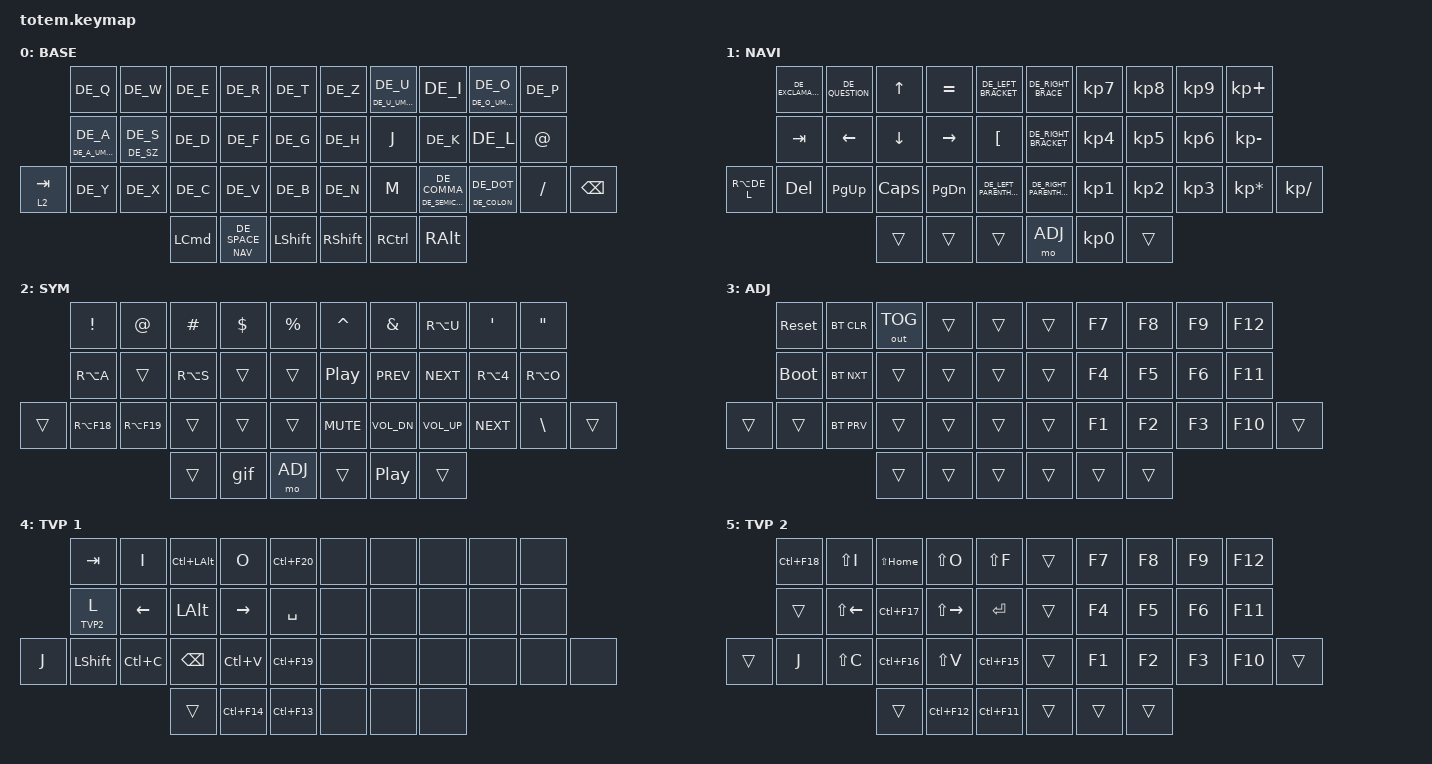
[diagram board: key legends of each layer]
//
//                                                        ▀▀▀▀▀     ▀▀▀▀▀          ▀▀█▀▀
//                                                        ▄▀▀▀▄  ▄  ▄▀▀▀▄  ▄  ▄▀▀▀▄  █  ▄▀▀▀▄
//                                                        █   █  █  █   █  █  █   █  █  █   █
//                                                         ▀▀▀   █   ▀▀▀   █   ▀▀▀   ▀   ▀▀▀
//                                                               █      ▄▄▄█▄▄▄    █   █  
//                                                               ▀      █  █  █     █▄█
//                                                             ▀▀▀▀▀    █  █  █      ▀
//                                                                      ▀  ▀  ▀
//
// ▄▄▄▄▄▄▄▄▄▄▄▄▄▄▄▄▄▄▄▄▄▄▄▄▄▄▄▄▄▄▄▄▄▄▄▄▄▄▄▄▄▄▄▄▄▄▄▄▄▄▄▄▄▄▄▄▄▄▄▄▄▄▄▄▄▄▄▄▄▄▄▄▄▄▄▄▄▄▄▄▄▄▄▄▄▄▄▄▄▄▄▄▄▄▄▄▄▄▄▄▄▄▄▄▄▄▄▄▄▄▄▄▄▄▄▄▄▄▄▄▄▄▄▄▄▄▄▄▄▄▄▄▄▄▄▄▄▄▄▄▄▄▄▄▄▄▄▄▄

#include <behaviors.dtsi>
#include <dt-bindings/zmk/bt.h>
#include <dt-bindings/zmk/keys.h>
#include <dt-bindings/zmk/outputs.h>
#include "keys_de.h"

#define BASE 0
#define NAV  1
#define SYM  2
#define ADJ  3
#define TVP1 4
#define TVP2 5

&mt {
    quick-tap-ms = <150>;
    global-quick-tap;
    flavor = "tap-preferred";
    tapping-term-ms = <250>;
};

/ {
    combos {
        compatible = "zmk,combos";

        Enter {
            bindings = <&kp ENTER>;
            key-positions = <16 17>;
        };

        Spotlight {
            bindings = <&kp LG(SPACE)>;
            key-positions = <11 12 13>;
        };

        escape {
            bindings = <&kp ESCAPE>;
            key-positions = <11 12>;
        };

        downloads {
            bindings = <&kp LA(LS(DE_D))>;
            key-positions = <12 24>;
        };

        screenshot {
            bindings = <&kp LS(LA(DE_S))>;
            key-positions = <22 12>;
        };

        shot {
            bindings = <&kp LS(LG(NUMBER_4))>;
            key-positions = <13 2>;
        };

        zwischenablage {
            bindings = <&kp LS(LG(DE_V))>;
            key-positions = <23 13>;
        };
    };

    macros {
        gif: gif {
            label = "giphy";
            compatible = "zmk,behavior-macro";
            #binding-cells = <0>;
            bindings =
                <&macro_press>,
                <&kp LSHFT>,
                <&macro_tap>,
                <&kp N2>,
                <&macro_release>,
                <&kp LSHFT>,
                <&macro_tap>,
                <&kp G &kp I &kp F>;
        };
    };

    keymap {
        compatible = "zmk,keymap";

        // ▄▄▄▄▄▄▄▄▄▄▄▄▄▄▄▄▄▄▄▄▄▄▄▄▄▄▄▄▄▄▄▄▄▄▄▄▄▄▄▄▄▄▄▄▄▄▄▄▄▄▄▄▄▄▄▄▄▄▄▄▄▄▄▄▄▄▄▄▄▄▄▄▄▄▄▄▄▄▄▄▄▄▄▄▄▄▄▄▄▄▄▄▄▄▄▄▄▄▄▄▄▄▄▄▄▄▄▄▄▄▄▄▄▄▄▄▄▄▄▄▄▄▄▄▄▄▄▄▄▄▄▄▄▄▄▄▄▄▄▄▄▄▄▄▄▄▄▄▄

        base_layer {
            // ┏━━━━━━━━━━━━━━━━━━━━━━━━━━━━━━━━━━━━━━━┓

            label = "BASE";

            // ┗━━━━━━━━━━━━━━━━━━━━━━━━━━━━━━━━━━━━━━━┛
            //             ┏━━━━━━━━━━━┳━━━━━━━━━━━┳━━━━━━━━━━━┳━━━━━━━━━━━┳━━━━━━━━━━━┓   ┏━━━━━━━━━━━┳━━━━━━━━━━━┳━━━━━━━━━━━┳━━━━━━━━━━━┳━━━━━━━━━━━┓
            //             ┃     Q     ┃     W     ┃     F     ┃     P     ┃     G     ┃   ┃     J     ┃     L     ┃     U     ┃     Y     ┃     ;     ┃
            //             ┣━━━━━━━━━━━╋━━━━━━━━━━━╋━━━━━━━━━━━╋━━━━━━━━━━━╋━━━━━━━━━━━┫   ┣━━━━━━━━━━━╋━━━━━━━━━━━╋━━━━━━━━━━━╋━━━━━━━━━━━╋━━━━━━━━━━━┫
            //             ┃     A     ┃     R     ┃     S     ┃     T     ┃     D     ┃   ┃     H     ┃     N     ┃     E     ┃     I     ┃     O     ┃
            // ┏━━━━━━━━━━━╋━━━━━━━━━━━╋━━━━━━━━━━━╋━━━━━━━━━━━╋━━━━━━━━━━━╋━━━━━━━━━━━┫   ┣━━━━━━━━━━━╋━━━━━━━━━━━╋━━━━━━━━━━━╋━━━━━━━━━━━╋━━━━━━━━━━━╋━━━━━━━━━━━┓
            // ┃     Q     ┃     Z     ┃     X     ┃     C     ┃     V     ┃     B     ┃   ┃     K     ┃     M     ┃     ,     ┃     .     ┃     /     ┃     \     ┃
            // ┗━━━━━━━━━━━┻━━━━━━━━━━━┻━━━━━━━━━━━╋━━━━━━━━━━━╋━━━━━━━━━━━╋━━━━━━━━━━━┫   ┣━━━━━━━━━━━╋━━━━━━━━━━━╋━━━━━━━━━━━╋━━━━━━━━━━━┻━━━━━━━━━━━┻━━━━━━━━━━━┛
            //                                     ┃    DEL    ┃    TAB    ┃    SPC    ┃   ┃   ENTER   ┃           ┃   BSPC    ┃
            //                                     ┗━━━━━━━━━━━┻━━━━━━━━━━━┻━━━━━━━━━━━┛   ┗━━━━━━━━━━━┻━━━━━━━━━━━┻━━━━━━━━━━━┛

            bindings = <
           &kp DE_Q              &kp DE_W        &kp DE_E          &kp DE_R          &kp DE_T          &kp DE_Z         &mt DE_U_UMLAUT DE_U  &kp DE_I                   &mt DE_O_UMLAUT DE_O  &kp DE_P
           &mt DE_A_UMLAUT DE_A  &mt DE_SZ DE_S  &kp DE_D          &kp DE_F          &kp DE_G          &kp DE_H         &kp J                 &kp DE_K                   &kp DE_L              &kp AT
&lt 2 TAB  &kp DE_Y              &kp DE_X        &kp DE_C          &kp DE_V          &kp DE_B          &kp DE_N         &kp M                 &mt DE_SEMICOLON DE_COMMA  &mt DE_COLON DE_DOT   &kp FSLH  &kp BACKSPACE
                                                 &kp LEFT_COMMAND  &lt NAV DE_SPACE  &kp LEFT_SHIFT    &kp RIGHT_SHIFT  &kp RIGHT_CONTROL     &kp RIGHT_ALT
            >;
        };

        // ▄▄▄▄▄▄▄▄▄▄▄▄▄▄▄▄▄▄▄▄▄▄▄▄▄▄▄▄▄▄▄▄▄▄▄▄▄▄▄▄▄▄▄▄▄▄▄▄▄▄▄▄▄▄▄▄▄▄▄▄▄▄▄▄▄▄▄▄▄▄▄▄▄▄▄▄▄▄▄▄▄▄▄▄▄▄▄▄▄▄▄▄▄▄▄▄▄▄▄▄▄▄▄▄▄▄▄▄▄▄▄▄▄▄▄▄▄▄▄▄▄▄▄▄▄▄▄▄▄▄▄▄▄▄▄▄▄▄▄▄▄▄▄▄▄▄▄▄▄

        nav_layer {
            // ┏━━━━━━━━━━━━━━━━━━━━━━━━━━━━━━━━━━━━━━━┓

            label = "NAVI";

            // ┗━━━━━━━━━━━━━━━━━━━━━━━━━━━━━━━━━━━━━━━┛
            //             ┏━━━━━━━━━━━┳━━━━━━━━━━━┳━━━━━━━━━━━┳━━━━━━━━━━━┳━━━━━━━━━━━┓   ┏━━━━━━━━━━━┳━━━━━━━━━━━┳━━━━━━━━━━━┳━━━━━━━━━━━┳━━━━━━━━━━━┓
            //             ┃           ┃           ┃     UP    ┃           ┃     {     ┃   ┃     }     ┃     7     ┃     8     ┃     9     ┃     +     ┃
            //             ┣━━━━━━━━━━━╋━━━━━━━━━━━╋━━━━━━━━━━━╋━━━━━━━━━━━╋━━━━━━━━━━━┫   ┣━━━━━━━━━━━╋━━━━━━━━━━━╋━━━━━━━━━━━╋━━━━━━━━━━━╋━━━━━━━━━━━┫
            //             ┃   SHIFT   ┃   LEFT    ┃    DOWN   ┃   RIGHT   ┃     [     ┃   ┃     ]     ┃     4     ┃     5     ┃     6     ┃     -     ┃
            // ┏━━━━━━━━━━━╋━━━━━━━━━━━╋━━━━━━━━━━━╋━━━━━━━━━━━╋━━━━━━━━━━━╋━━━━━━━━━━━┫   ┣━━━━━━━━━━━╋━━━━━━━━━━━╋━━━━━━━━━━━╋━━━━━━━━━━━╋━━━━━━━━━━━╋━━━━━━━━━━━┓
            // ┃           ┃           ┃   P UP    ┃  C LOCK   ┃  P DOWN   ┃     (     ┃   ┃     )     ┃     1     ┃     2     ┃     3     ┃     *     ┃           ┃
            // ┗━━━━━━━━━━━┻━━━━━━━━━━━┻━━━━━━━━━━━╋━━━━━━━━━━━╋━━━━━━━━━━━╋━━━━━━━━━━━┫   ┣━━━━━━━━━━━╋━━━━━━━━━━━╋━━━━━━━━━━━╋━━━━━━━━━━━┻━━━━━━━━━━━┻━━━━━━━━━━━┛
            //                                     ┃           ┃    TAB    ┃    SPC    ┃   ┃    DEL    ┃     0     ┃           ┃
            //                                     ┗━━━━━━━━━━━┻━━━━━━━━━━━┻━━━━━━━━━━━┛   ┗━━━━━━━━━━━┻━━━━━━━━━━━┻━━━━━━━━━━━┛

            bindings = <
              &kp DE_EXCLAMATION  &kp DE_QUESTION  &kp UP    &kp EQUAL  &kp DE_LEFT_BRACKET        &kp DE_RIGHT_BRACE        &kp KP_N7  &kp KP_N8  &kp KP_N9  &kp KP_PLUS
              &kp TAB             &kp LEFT         &kp DOWN  &kp RIGHT  &kp LBKT                   &kp DE_RIGHT_BRACKET      &kp KP_N4  &kp KP_N5  &kp KP_N6  &kp KP_MINUS
&kp RA(DE_L)  &kp DEL             &kp PG_UP        &kp CAPS  &kp PG_DN  &kp DE_LEFT_PARENTHESIS    &kp DE_RIGHT_PARENTHESIS  &kp KP_N1  &kp KP_N2  &kp KP_N3  &kp KP_MULTIPLY  &kp KP_DIVIDE
                                                   &trans    &trans     &trans                     &mo ADJ                   &kp KP_N0  &trans
            >;
        };

        // ▄▄▄▄▄▄▄▄▄▄▄▄▄▄▄▄▄▄▄▄▄▄▄▄▄▄▄▄▄▄▄▄▄▄▄▄▄▄▄▄▄▄▄▄▄▄▄▄▄▄▄▄▄▄▄▄▄▄▄▄▄▄▄▄▄▄▄▄▄▄▄▄▄▄▄▄▄▄▄▄▄▄▄▄▄▄▄▄▄▄▄▄▄▄▄▄▄▄▄▄▄▄▄▄▄▄▄▄▄▄▄▄▄▄▄▄▄▄▄▄▄▄▄▄▄▄▄▄▄▄▄▄▄▄▄▄▄▄▄▄▄▄▄▄▄▄▄▄▄

        sim_layer {
            // ┏━━━━━━━━━━━━━━━━━━━━━━━━━━━━━━━━━━━━━━━┓

            label = "SYM";

            // ┗━━━━━━━━━━━━━━━━━━━━━━━━━━━━━━━━━━━━━━━┛
            //             ┏━━━━━━━━━━━┳━━━━━━━━━━━┳━━━━━━━━━━━┳━━━━━━━━━━━┳━━━━━━━━━━━┓   ┏━━━━━━━━━━━┳━━━━━━━━━━━┳━━━━━━━━━━━┳━━━━━━━━━━━┳━━━━━━━━━━━┓
            //             ┃     !     ┃     @     ┃     #     ┃     $     ┃     %     ┃   ┃     ˆ     ┃     &     ┃     Ü     ┃     '     ┃     "     ┃
            //             ┣━━━━━━━━━━━╋━━━━━━━━━━━╋━━━━━━━━━━━╋━━━━━━━━━━━╋━━━━━━━━━━━┫   ┣━━━━━━━━━━━╋━━━━━━━━━━━╋━━━━━━━━━━━╋━━━━━━━━━━━╋━━━━━━━━━━━┫
            //             ┃     Ä     ┃           ┃    SZ     ┃           ┃           ┃   ┃   MUTE    ┃   YEN     ┃   EURO    ┃  POUND    ┃     Ö     ┃
            // ┏━━━━━━━━━━━╋━━━━━━━━━━━╋━━━━━━━━━━━╋━━━━━━━━━━━╋━━━━━━━━━━━╋━━━━━━━━━━━┫   ┣━━━━━━━━━━━╋━━━━━━━━━━━╋━━━━━━━━━━━╋━━━━━━━━━━━╋━━━━━━━━━━━╋━━━━━━━━━━━┓
            // ┃           ┃  EMAIL1   ┃  EMAIL2   ┃           ┃           ┃           ┃   ┃   VOL-    ┃   VOL+    ┃   LAST    ┃   NEXT    ┃     \     ┃           ┃
            // ┗━━━━━━━━━━━┻━━━━━━━━━━━┻━━━━━━━━━━━╋━━━━━━━━━━━╋━━━━━━━━━━━╋━━━━━━━━━━━┫   ┣━━━━━━━━━━━╋━━━━━━━━━━━╋━━━━━━━━━━━╋━━━━━━━━━━━┻━━━━━━━━━━━┻━━━━━━━━━━━┛
            //                                     ┃           ┃    GIF    ┃    ADJ    ┃   ┃           ┃           ┃           ┃
            //                                     ┗━━━━━━━━━━━┻━━━━━━━━━━━┻━━━━━━━━━━━┛   ┗━━━━━━━━━━━┻━━━━━━━━━━━┻━━━━━━━━━━━┛

            bindings = <
        &kp EXCL     &kp AT       &kp HASH   &kp DLLR  &kp PRCNT    &kp CARET         &kp AMPS      &kp RA(U)        &kp SQT     &kp DQT
        &kp RA(A)    &trans       &kp RA(S)  &trans    &trans       &kp C_PLAY_PAUSE  &kp C_PREV    &kp C_NEXT       &kp RA(N4)  &kp RA(O)
&trans  &kp RA(F18)  &kp RA(F19)  &trans     &trans    &trans       &kp C_MUTE        &kp C_VOL_DN  &kp C_VOLUME_UP  &kp C_NEXT  &kp BSLH   &trans
                                  &trans     &gif      &mo ADJ      &trans            &kp C_PP      &trans
            >;
        };

        // ▄▄▄▄▄▄▄▄▄▄▄▄▄▄▄▄▄▄▄▄▄▄▄▄▄▄▄▄▄▄▄▄▄▄▄▄▄▄▄▄▄▄▄▄▄▄▄▄▄▄▄▄▄▄▄▄▄▄▄▄▄▄▄▄▄▄▄▄▄▄▄▄▄▄▄▄▄▄▄▄▄▄▄▄▄▄▄▄▄▄▄▄▄▄▄▄▄▄▄▄▄▄▄▄▄▄▄▄▄▄▄▄▄▄▄▄▄▄▄▄▄▄▄▄▄▄▄▄▄▄▄▄▄▄▄▄▄▄▄▄▄▄▄▄▄▄▄▄▄

        adjust_layer {
            // ┏━━━━━━━━━━━━━━━━━━━━━━━━━━━━━━━━━━━━━━━┓

            label = "ADJ";

            // ┗━━━━━━━━━━━━━━━━━━━━━━━━━━━━━━━━━━━━━━━┛
            //             ┏━━━━━━━━━━━┳━━━━━━━━━━━┳━━━━━━━━━━━┳━━━━━━━━━━━┳━━━━━━━━━━━┓   ┏━━━━━━━━━━━┳━━━━━━━━━━━┳━━━━━━━━━━━┳━━━━━━━━━━━┳━━━━━━━━━━━┓
            //             ┃   RESET   ┃ BT CLEAR  ┃  OUT TOG  ┃           ┃           ┃   ┃           ┃    F7     ┃    F8     ┃    F9     ┃    F12    ┃
            //             ┣━━━━━━━━━━━╋━━━━━━━━━━━╋━━━━━━━━━━━╋━━━━━━━━━━━╋━━━━━━━━━━━┫   ┣━━━━━━━━━━━╋━━━━━━━━━━━╋━━━━━━━━━━━╋━━━━━━━━━━━╋━━━━━━━━━━━┫
            //             ┃ BOOTLOAD  ┃ BT NEXT   ┃           ┃           ┃           ┃   ┃           ┃    F4     ┃    F5     ┃    F6     ┃    F11    ┃
            // ┏━━━━━━━━━━━╋━━━━━━━━━━━╋━━━━━━━━━━━╋━━━━━━━━━━━╋━━━━━━━━━━━╋━━━━━━━━━━━┫   ┣━━━━━━━━━━━╋━━━━━━━━━━━╋━━━━━━━━━━━╋━━━━━━━━━━━╋━━━━━━━━━━━╋━━━━━━━━━━━┓
            // ┃           ┃           ┃ BT PREV   ┃           ┃           ┃           ┃   ┃           ┃    F1     ┃    F2     ┃    F3     ┃    F10    ┃           ┃
            // ┗━━━━━━━━━━━┻━━━━━━━━━━━┻━━━━━━━━━━━╋━━━━━━━━━━━╋━━━━━━━━━━━╋━━━━━━━━━━━┫   ┣━━━━━━━━━━━╋━━━━━━━━━━━╋━━━━━━━━━━━╋━━━━━━━━━━━┻━━━━━━━━━━━┻━━━━━━━━━━━┛
            //                                     ┃           ┃           ┃           ┃   ┃           ┃           ┃           ┃
            //                                     ┗━━━━━━━━━━━┻━━━━━━━━━━━┻━━━━━━━━━━━┛   ┗━━━━━━━━━━━┻━━━━━━━━━━━┻━━━━━━━━━━━┛

            bindings = <
        &sys_reset   &bt BT_CLR  &out OUT_TOG  &trans  &trans    &trans  &kp F7  &kp F8  &kp F9  &kp F12
        &bootloader  &bt BT_NXT  &trans        &trans  &trans    &trans  &kp F4  &kp F5  &kp F6  &kp F11
&trans  &trans       &bt BT_PRV  &trans        &trans  &trans    &trans  &kp F1  &kp F2  &kp F3  &kp F10  &trans
                                 &trans        &trans  &trans    &trans  &trans  &trans
            >;
        };

        // ▄▄▄▄▄▄▄▄▄▄▄▄▄▄▄▄▄▄▄▄▄▄▄▄▄▄▄▄▄▄▄▄▄▄▄▄▄▄▄▄▄▄▄▄▄▄▄▄▄▄▄▄▄▄▄▄▄▄▄▄▄▄▄▄▄▄▄▄▄▄▄▄▄▄▄▄▄▄▄▄▄▄▄▄▄▄▄▄▄▄▄▄▄▄▄▄▄▄▄▄▄▄▄▄▄▄▄▄▄▄▄▄▄▄▄▄▄▄▄▄▄▄▄▄▄▄▄▄▄▄▄▄▄▄▄▄▄▄▄▄▄▄▄▄▄▄▄▄▄

        tvp1_layer {
            // ┏━━━━━━━━━━━━━━━━━━━━━━━━━━━━━━━━━━━━━━━┓

            label = "TVP 1";

            // ┗━━━━━━━━━━━━━━━━━━━━━━━━━━━━━━━━━━━━━━━┛
            //             ┏━━━━━━━━━━━┳━━━━━━━━━━━┳━━━━━━━━━━━┳━━━━━━━━━━━┳━━━━━━━━━━━┓   ┏━━━━━━━━━━━┳━━━━━━━━━━━┳━━━━━━━━━━━┳━━━━━━━━━━━┳━━━━━━━━━━━┓
            //             ┃ NEXT FILE ┃ MARK IN   ┃ ROTATE    ┃ MARK OUT  ┃ SHOW SNAP ┃   ┃           ┃           ┃           ┃           ┃           ┃
            //             ┣━━━━━━━━━━━╋━━━━━━━━━━━╋━━━━━━━━━━━╋━━━━━━━━━━━╋━━━━━━━━━━━┫   ┣━━━━━━━━━━━╋━━━━━━━━━━━╋━━━━━━━━━━━╋━━━━━━━━━━━╋━━━━━━━━━━━┫
            //             ┃ TVP II    ┃ LEFT      ┃ PAN       ┃ RIGHT     ┃ PLAY/FLIP ┃   ┃           ┃           ┃           ┃           ┃           ┃
            // ┏━━━━━━━━━━━╋━━━━━━━━━━━╋━━━━━━━━━━━╋━━━━━━━━━━━╋━━━━━━━━━━━╋━━━━━━━━━━━┫   ┣━━━━━━━━━━━╋━━━━━━━━━━━╋━━━━━━━━━━━╋━━━━━━━━━━━╋━━━━━━━━━━━╋━━━━━━━━━━━┓
            // ┃ FULLSCR   ┃ SHIFT     ┃ COPY      ┃ DELETE    ┃ PASTE     ┃ IMG MARK  ┃   ┃           ┃           ┃           ┃           ┃           ┃           ┃
            // ┗━━━━━━━━━━━┻━━━━━━━━━━━┻━━━━━━━━━━━╋━━━━━━━━━━━╋━━━━━━━━━━━╋━━━━━━━━━━━┫   ┣━━━━━━━━━━━╋━━━━━━━━━━━╋━━━━━━━━━━━╋━━━━━━━━━━━┻━━━━━━━━━━━┻━━━━━━━━━━━┛
            //                                     ┃           ┃ UNDO/SAVE ┃  SEL/MOV  ┃   ┃           ┃           ┃           ┃
            //                                     ┗━━━━━━━━━━━┻━━━━━━━━━━━┻━━━━━━━━━━━┛   ┗━━━━━━━━━━━┻━━━━━━━━━━━┻━━━━━━━━━━━┛

            bindings = <
       &kp TAB     &kp I      &kp LC(LALT)  &kp O        &kp LC(F20)    &none  &none  &none  &none  &none
       &lt TVP2 L  &kp LEFT   &kp LALT      &kp RIGHT    &kp SPACE      &none  &none  &none  &none  &none
&kp J  &kp LSHFT   &kp LC(C)  &kp BSPC      &kp LC(V)    &kp LC(F19)    &none  &none  &none  &none  &none  &none
                              &trans        &kp LC(F14)  &kp LC(F13)    &none  &none  &none
            >;
        };

        // ▄▄▄▄▄▄▄▄▄▄▄▄▄▄▄▄▄▄▄▄▄▄▄▄▄▄▄▄▄▄▄▄▄▄▄▄▄▄▄▄▄▄▄▄▄▄▄▄▄▄▄▄▄▄▄▄▄▄▄▄▄▄▄▄▄▄▄▄▄▄▄▄▄▄▄▄▄▄▄▄▄▄▄▄▄▄▄▄▄▄▄▄▄▄▄▄▄▄▄▄▄▄▄▄▄▄▄▄▄▄▄▄▄▄▄▄▄▄▄▄▄▄▄▄▄▄▄▄▄▄▄▄▄▄▄▄▄▄▄▄▄▄▄▄▄▄▄▄▄

        tvp2_layer {
            // ┏━━━━━━━━━━━━━━━━━━━━━━━━━━━━━━━━━━━━━━━┓

            label = "TVP 2";

            // ┗━━━━━━━━━━━━━━━━━━━━━━━━━━━━━━━━━━━━━━━┛
            //             ┏━━━━━━━━━━━┳━━━━━━━━━━━┳━━━━━━━━━━━┳━━━━━━━━━━━┳━━━━━━━━━━━┓   ┏━━━━━━━━━━━┳━━━━━━━━━━━┳━━━━━━━━━━━┳━━━━━━━━━━━┳━━━━━━━━━━━┓
            //             ┃ SOLO      ┃ TOGGLE IN ┃ RESET ROT ┃ TOGGLE OUT┃ TAKE SNAP ┃   ┃           ┃           ┃           ┃           ┃           ┃
            //             ┣━━━━━━━━━━━╋━━━━━━━━━━━╋━━━━━━━━━━━╋━━━━━━━━━━━╋━━━━━━━━━━━┫   ┣━━━━━━━━━━━╋━━━━━━━━━━━╋━━━━━━━━━━━╋━━━━━━━━━━━╋━━━━━━━━━━━┫
            //             ┃ ---       ┃ LAST KEY  ┃ NEW KEY   ┃ NEXT KEY  ┃ ENTER     ┃   ┃           ┃           ┃           ┃           ┃           ┃
            // ┏━━━━━━━━━━━╋━━━━━━━━━━━╋━━━━━━━━━━━╋━━━━━━━━━━━╋━━━━━━━━━━━╋━━━━━━━━━━━┫   ┣━━━━━━━━━━━╋━━━━━━━━━━━╋━━━━━━━━━━━╋━━━━━━━━━━━╋━━━━━━━━━━━╋━━━━━━━━━━━┓
            // ┃           ┃ FULLSCR   ┃ CPY2BRUSH ┃ DEL HEAD  ┃ PSTinPLACE┃ BOOK MARK ┃   ┃           ┃           ┃           ┃           ┃           ┃           ┃
            // ┗━━━━━━━━━━━┻━━━━━━━━━━━┻━━━━━━━━━━━╋━━━━━━━━━━━╋━━━━━━━━━━━╋━━━━━━━━━━━┫   ┣━━━━━━━━━━━╋━━━━━━━━━━━╋━━━━━━━━━━━╋━━━━━━━━━━━┻━━━━━━━━━━━┻━━━━━━━━━━━┛
            //                                     ┃           ┃ REDO/SAV1 ┃TRANS/WARP ┃   ┃           ┃           ┃           ┃
            //                                     ┗━━━━━━━━━━━┻━━━━━━━━━━━┻━━━━━━━━━━━┛   ┗━━━━━━━━━━━┻━━━━━━━━━━━┻━━━━━━━━━━━┛

            bindings = <
        &kp LC(F18)  &kp LS(I)     &kp LS(HOME)  &kp LS(O)      &kp LS(F)      &trans  &kp F7  &kp F8  &kp F9  &kp F12
        &trans       &kp LS(LEFT)  &kp LC(F17)   &kp LS(RIGHT)  &kp RET        &trans  &kp F4  &kp F5  &kp F6  &kp F11
&trans  &kp J        &kp LS(C)     &kp LC(F16)   &kp LS(V)      &kp LC(F15)    &trans  &kp F1  &kp F2  &kp F3  &kp F10  &trans
                                   &trans        &kp LC(F12)    &kp LC(F11)    &trans  &trans  &trans
            >;
        };
    };
};
